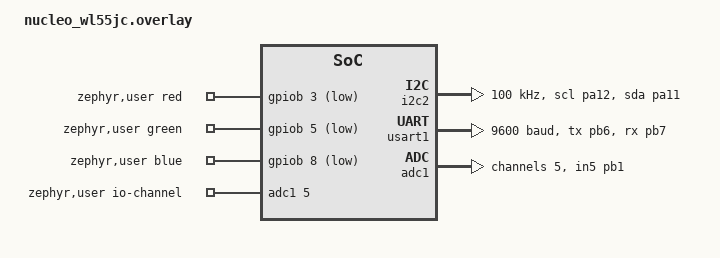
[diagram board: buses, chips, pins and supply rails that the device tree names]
/*
 * Overlay devicetree - Drone tracking & telemetry node
 * Carte : NUCLEO-WL55JC
 *
 * Câblage :
 *   I2C2  : SCL = D15 (PA12), SDA = D14 (PA11)
 *           -> MPU6050 (0x68) et Si7021 (0x40) sur le même bus
 *   USART1: RX  = D0  (PB7)  <- TX du GPS (9600 bauds)
 *           TX  = D1  (PB6)  -> RX du GPS (optionnel, non câblé)
 *   ADC1  : A0  = PB1, canal 5 <- sortie S du module LDR
 *   LED RGB (anode commune sur 3V3, allumée quand la broche est à 0) :
 *           rouge = D3 (PB3), vert = D4 (PB5), bleu = D5 (PB8)
 *   Bouton B1 : défini par la carte (alias sw0)
 *   Console / trames SIMU : LPUART1 via ST-LINK VCP (défini par la carte)
 */

#include <zephyr/dt-bindings/adc/adc.h>

/* ---------- I2C : MPU6050 + Si7021 ---------- */
&i2c2 {
	pinctrl-0 = <&i2c2_scl_pa12 &i2c2_sda_pa11>;
	pinctrl-names = "default";
	clock-frequency = <100000>;   
	status = "okay";
};

/* ---------- UART : GPS ---------- */
&usart1 {
	pinctrl-0 = <&usart1_tx_pb6 &usart1_rx_pb7>;
	pinctrl-names = "default";
	current-speed = <9600>;       /* Débit par défaut du PA6H */
	status = "okay";
};

/* ---------- ADC : LDR ---------- */
&adc1 {
	pinctrl-0 = <&adc_in5_pb1>;
	pinctrl-names = "default";
	status = "okay";
	#address-cells = <1>;
	#size-cells = <0>;

	channel@5 {
		reg = <5>;
		zephyr,gain = "ADC_GAIN_1";
		zephyr,reference = "ADC_REF_INTERNAL";
		zephyr,acquisition-time = <ADC_ACQ_TIME_DEFAULT>;
		zephyr,resolution = <12>;
	};
};

/* ---------- Ressources utilisées par l'application ---------- */
/ {
	zephyr,user {
		/* Canal ADC du LDR */
		io-channels = <&adc1 5>;

		/* LED RGB, anode commune -> active à l'état bas */
		red-gpios   = <&gpiob 3 GPIO_ACTIVE_LOW>;
		green-gpios = <&gpiob 5 GPIO_ACTIVE_LOW>;
		blue-gpios  = <&gpiob 8 GPIO_ACTIVE_LOW>;
	};
};
